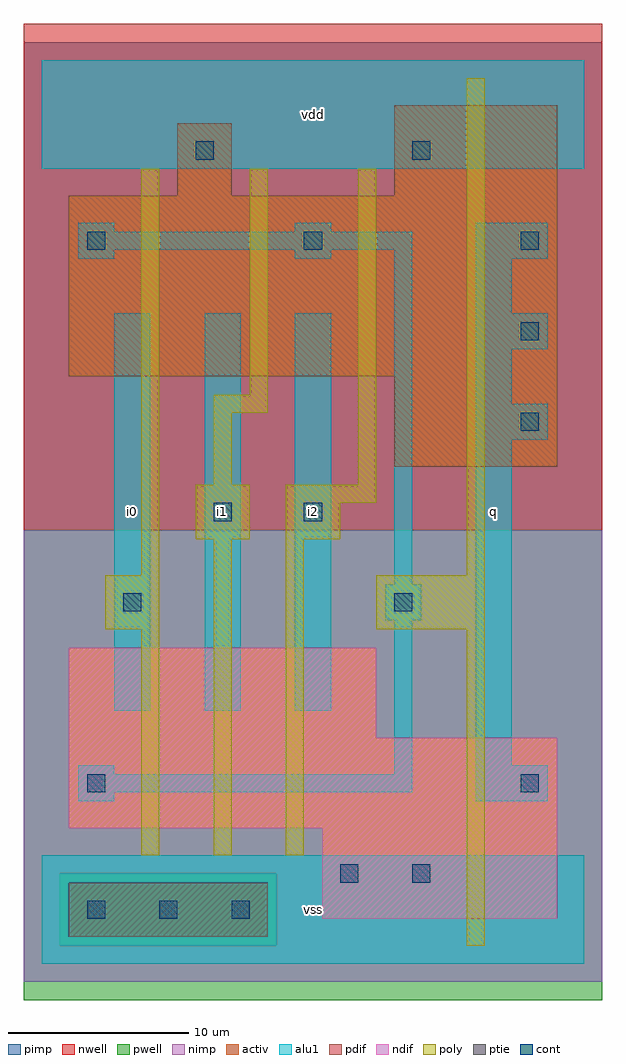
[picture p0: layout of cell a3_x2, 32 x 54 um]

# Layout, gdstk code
import gdstk
lib = gdstk.Library(unit=1e-6, precision=1e-09)
def R(c, l, rs):  # rectangles x0, y0, x1, y1
    for r in rs: c.add(gdstk.rectangle(r[:2], r[2:], *l))
def A(c, l, x, y, w, h, nx, ny, dx, dy):  # array of equal rectangles
    R(c, l, [(x+i*dx, y+j*dy, x+i*dx+w, y+j*dy+h) for i in range(nx) for j in range(ny)])
ndif = (3, 0)
pdif = (4, 0)
ptie = (6, 0)
cont = (25, 0)
pwell = (41, 0)
nwell = (42, 0)
activ = (43, 0)
pimp = (44, 0)
nimp = (45, 0)
poly = (46, 0)
alu1 = (49, 0)

a3_x2 = lib.new_cell('a3_x2')
R(a3_x2, ndif, [(15.5,2.5,28.5,7.5), (1.5,7.5,28.5,12.5), (1.5,12.5,18.5,17.5)])
R(a3_x2, pdif, [(19.5,27.5,28.5,32.5), (1.5,32.5,28.5,42.5), (7.5,42.5,10.5,46.5), (19.5,42.5,28.5,47.5)])
R(a3_x2, ptie, [(1.5,1.5,12.5,4.5)])
A(a3_x2, cont, 2.5, 2.5, 1, 1, 3, 1, 4, 0)
A(a3_x2, cont, 2.5, 39.5, 1, 1, 3, 1, 12, 0)
R(a3_x2, cont, [(16.5,4.5,17.5,5.5), (20.5,4.5,21.5,5.5), (2.5,9.5,3.5,10.5), (26.5,9.5,27.5,10.5), (4.5,19.5,5.5,20.5), (19.5,19.5,20.5,20.5), (9.5,24.5,10.5,25.5), (14.5,24.5,15.5,25.5), (26.5,29.5,27.5,30.5), (26.5,34.5,27.5,35.5), (8.5,44.5,9.5,45.5), (20.5,44.5,21.5,45.5)])
R(a3_x2, pwell, [(-1,-2,31,24)])
R(a3_x2, nwell, [(-1,24,31,52)])
R(a3_x2, activ, [(1.5,1.5,12.5,4.5), (15.5,2.5,28.5,7.5), (1.5,7.5,28.5,12.5), (1.5,12.5,18.5,17.5), (19.5,27.5,28.5,32.5), (1.5,32.5,28.5,42.5), (7.5,42.5,10.5,46.5), (19.5,42.5,28.5,47.5)])
R(a3_x2, pimp, [(1,1,13,5), (-1,24,31,51)])
R(a3_x2, nimp, [(-1,-1,31,1), (-1,1,1,5), (13,1,31,5), (-1,5,31,24)])
R(a3_x2, poly, [(23.5,1,24.5,18.5), (5.5,6,6.5,18.5), (9.5,6,10.5,23.5), (13.5,6,14.5,23.5), (3.5,18.5,6.5,21.5), (18.5,18.5,24.5,21.5), (5.5,21.5,6.5,44), (23.5,21.5,24.5,49), (8.5,23.5,11.5,26.5), (13.5,23.5,16.5,25.5), (13.5,25.5,18.5,26.5), (9.5,26.5,10.5,30.5), (17.5,26.5,18.5,44), (9.5,30.5,12.5,31.5), (11.5,31.5,12.5,44)])
A(a3_x2, alu1, 4, 14, 2, 22, 3, 1, 5, 0)
A(a3_x2, alu1, 24, 29, 4, 2, 1, 3, 0, 5)
R(a3_x2, alu1, [(0,0,30,6), (2,9,4,9.5), (24,9,28,11), (2,9.5,20.5,10.5), (2,10.5,4,11), (19.5,10.5,20.5,19), (24,11,26,29), (19,19,21,21), (19.5,21,20.5,39.5), (24,31,26,34), (24,36,26,39), (2,39,4,39.5), (14,39,16,39.5), (2,39.5,20.5,40.5), (2,40.5,4,41), (14,40.5,16,41), (0,44,30,50)])
a3_x2.add(gdstk.Label('i0', (5,25), layer=49, texttype=0))
a3_x2.add(gdstk.Label('i1', (10,25), layer=49, texttype=0))
a3_x2.add(gdstk.Label('vss', (15,3), layer=49, texttype=0))
a3_x2.add(gdstk.Label('i2', (15,25), layer=49, texttype=0))
a3_x2.add(gdstk.Label('vdd', (15,47), layer=49, texttype=0))
a3_x2.add(gdstk.Label('q', (25,25), layer=49, texttype=0))

lib.write_gds('a3_x2.gds')
